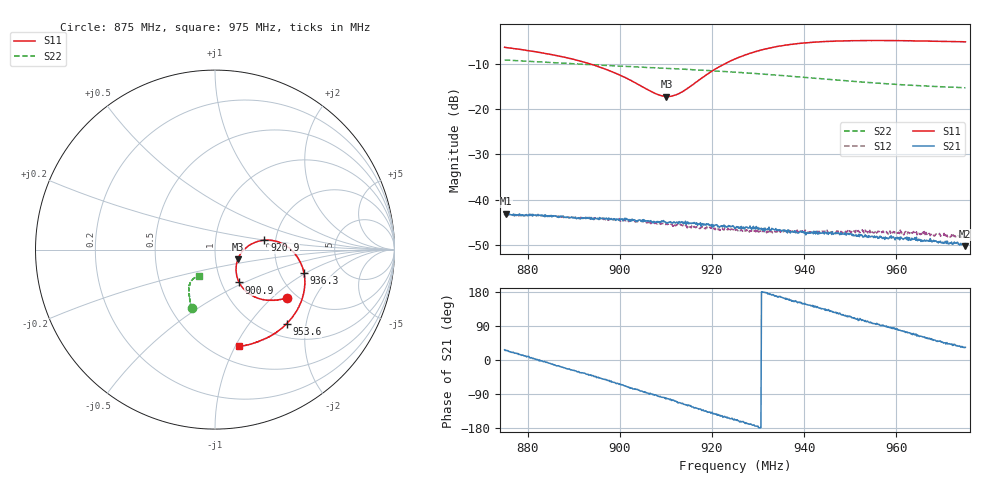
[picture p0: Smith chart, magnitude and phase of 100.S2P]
! C:\Users\rflab\Downloads\Lab5_KD_ZW\Q3\100.S2P
! Touchstone 1.1 file saved by VNA.EXE V1.65 (www.ke5fx.com/gpib/readme.htm)
! 11/18/2024 10:26:38 PM
!  Source: HEWLETT PACKARD,8753D,0,6.14
!  Min freq: 8.750000E+008 Hz
!  Max freq: 9.750200E+008 Hz
!  Points: 801
!  Params: S11 S21 S12 S22
# GHZ S MA R 50
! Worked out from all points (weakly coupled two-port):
!   801 points, 875 MHz to 975 MHz, reference 50 ohm
!   highest |S21| = -43.11 dB at 875.3 MHz (marker M1); lowest = -50.3 dB at 974.9 MHz (marker M2)
!   lowest |S11| = -17.2 dB at 910.1 MHz (marker M3), VSWR 1.32, Z = 64.1 - j7.03 ohm
!   |S11| at or under -10 dB: 893.6 MHz to 922.7 MHz (29.16 MHz wide, 3.21 % of centre)
!   |S22| runs from -15.3 to -9.1 dB; largest |S21 - S12| = 0.0015
!   S11 on the Smith chart (normalised r, x): 875 MHz: 1.78, -1.25; 900.9 MHz: 1.21, -0.47; 920.9 MHz: 1.75, +0.20; 936.3 MHz: 2.72, -0.97; 953.6 MHz: 1.26, -1.55; 975 MHz: 0.66, -1.04
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0.875  0.4837 -33.8  0.006846 26.8  0.006711 36.4  0.3492 -111.9
0.8752501  0.4807 -34.2  0.006991 25.7  0.006826 35.7  0.349 -111.9
0.8847519  0.405 -44.2  0.006518 -8.3  0.006567 0.0  0.3288 -114.7
0.8917534  0.337 -50.5  0.006321 -33.4  0.006276 -26.5  0.3148 -116.5
0.8965043  0.2817 -53.7  0.006242 -50.5  0.006013 -44.5  0.3056 -117.6
0.9008802  0.2269 -53.7  0.006 -67.6  0.005917 -62.7  0.2973 -118.5
0.9083817  0.1444 -33.7  0.005617 -95.6  0.005502 -89.9  0.2859 -120.2
0.910132  0.1379 -22.9  0.005569 -100.7  0.005474 -95.8  0.2826 -120.6
0.9117574  0.1418 -12.5  0.005672 -106.6  0.005387 -102.4  0.28 -121.0
0.9133827  0.1538 -3.1  0.005682 -114.8  0.005267 -109.1  0.2771 -121.4
0.9208842  0.2804 10.8  0.005243 -141.7  0.00483 -133.7  0.2637 -123.4
0.92501  0.3592 6.6  0.004763 -157.8  0.004669 -147.6  0.2567 -124.3
0.9308862  0.4544 -4.1  0.00461 178.6  0.004417 -167.9  0.245 -125.7
0.9362622  0.5129 -14.8  0.004472 162.2  0.004359 174.5  0.2332 -126.4
0.9417633  0.5487 -25.5  0.004357 143.3  0.004489 155.5  0.2211 -127.0
0.949765  0.5708 -39.6  0.004153 114.0  0.004613 128.4  0.2049 -126.7
0.9536407  0.5742 -46.0  0.003937 101.9  0.004418 112.3  0.1975 -126.2
0.9583917  0.5751 -53.0  0.003713 86.2  0.004121 99.7  0.1903 -125.4
0.9663933  0.5671 -64.5  0.003462 59.2  0.004276 65.0  0.1803 -123.5
0.9678936  0.5655 -66.4  0.003453 54.3  0.004218 61.6  0.179 -123.2
0.974895  0.555 -75.9  0.003048 33.7  0.003962 38.6  0.1724 -121.4
0.97502  0.5556 -76.1  0.003259 33.4  0.003925 37.0  0.1725 -121.4
